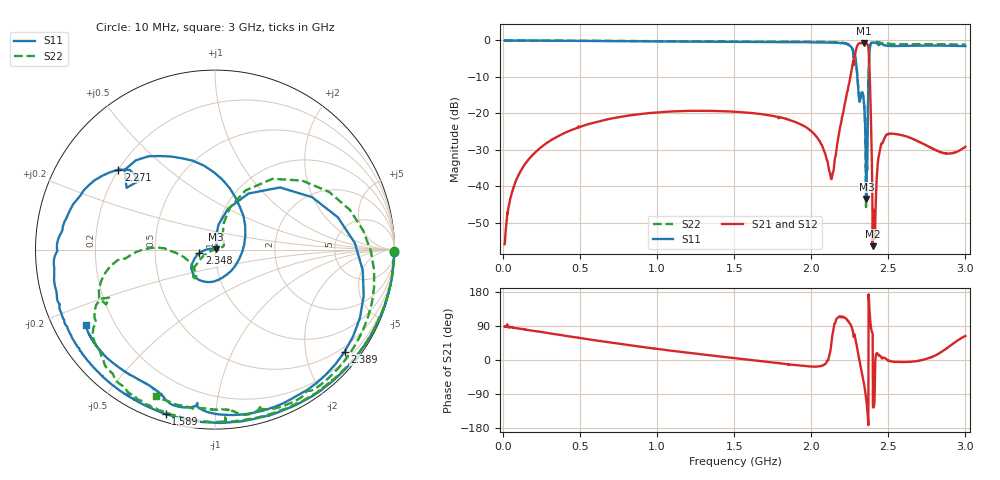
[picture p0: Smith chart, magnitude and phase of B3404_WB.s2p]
! Matrix data file written by TouchstoneData, EPCOS AG
! FILENAME: "B3404.PCB_WB.s2p"
! COMMENT: "(B3404_WB.s2p)"
! INFO: nport=2, nfreq=1601
! DATE: "Mon Apr 21 09:26:11 2014"
! USER: "Andy Zhang"
! port | pin | signal
!  1  |  2  |  inout
!  2  |  5  |  output
# MHZ S MA R 50
! freq  magS11 angS11  magS21 angS21  magS12 angS12  magS22 angS22
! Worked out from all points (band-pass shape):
!   1601 points, 10 MHz to 3 GHz, reference 50 ohm
!   highest |S21| = -0.72 dB at 2.34 GHz (marker M1); lowest = -56.4 dB at 2.398 GHz (marker M2)
!   |S21| within 3 dB of the highest: 2.285 GHz to 2.374 GHz (88.99 MHz wide, 3.82 % of centre)
!   lowest |S11| = -43.4 dB at 2.357 GHz (marker M3), VSWR 1.01, Z = 50.7 + j0.106 ohm
!   |S11| at or under -10 dB: 2.299 GHz to 2.371 GHz (72.45 MHz wide, 3.1 % of centre)
!   |S22| runs from -45.7 to 0.0 dB; largest |S21 - S12| = 0.0023
!   S11 on the Smith chart (normalised r, x): 10 MHz: open; 1.589 GHz: 0.03, -0.74; 2.271 GHz: 0.20, +0.35; 2.348 GHz: 0.84, -0.03; 2.389 GHz: 0.39, -2.84; 3 GHz: 0.10, -0.27
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10  0.9976 -0.7  0.001612 88.2  0.001625 89.8  0.9973 -0.5
58.5875  0.9971 -4.8  0.008377 86.1  0.008374 86.0  0.9974 -3.2
138.9437  0.9978 -10.9  0.01966 80.7  0.01968 80.7  0.9974 -7.1
508.9563  0.9867 -39.1  0.06643 57.4  0.06649 57.4  0.9917 -25.2
1007.913  0.9702 -73.1  0.1036 29.0  0.1035 29.0  0.9783 -48.7
1505  0.9588 -102.0  0.1055 4.8  0.1054 4.7  0.9664 -70.1
1589.094  0.9566 -106.6  0.1024 1.0  0.1024 1.0  0.9654 -73.5
2003.956  0.9425 -133.8  0.05623 -17.4  0.05627 -17.4  0.9567 -95.6
2132.9  0.9355 -148.5  0.0129 53.8  0.0129 53.8  0.949 -107.3
2231.944  0.8843 -178.9  0.1926 105.7  0.1928 105.6  0.9016 -128.8
2271.188  0.6991 140.4  0.5164 73.6  0.5173 73.7  0.7291 -155.1
2312.3  0.1443 -22.0  0.918 -0.7  0.9191 -0.7  0.1559 -150.6
2340.331  0.1518 -148.0  0.9202 -58.3  0.9216 -58.2  0.1531 -139.3
2347.806  0.08827 -168.1  0.9183 -76.9  0.9197 -76.8  0.08215 -149.6
2357.15  0.006734 9.0  0.9096 -105.9  0.911 -105.9  0.02344 21.1
2373.969  0.501 43.7  0.6278 158.2  0.6285 158.2  0.508 50.9
2388.919  0.9193 -38.3  0.05857 81.9  0.05865 81.9  0.9229 -18.6
2398.262  0.9336 -60.1  0.001516 69.6  0.001519 69.8  0.9474 -36.9
2411.344  0.9334 -78.0  0.002057 -88.8  0.002049 -88.8  0.9555 -52.2
2443.113  0.8838 -97.9  0.02985 11.9  0.02986 12.0  0.9413 -70.5
2502.912  0.8419 -115.1  0.05277 -1.8  0.05284 -1.8  0.9038 -84.1
3000  0.8355 -149.6  0.03494 63.4  0.03503 63.5  0.8787 -111.8
